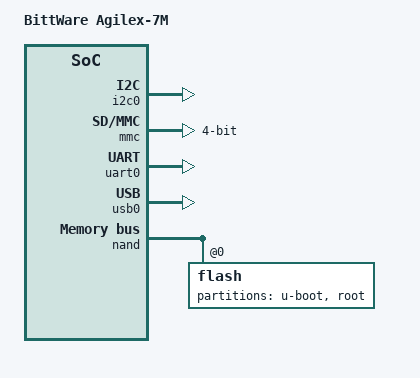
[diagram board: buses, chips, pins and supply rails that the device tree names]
// SPDX-License-Identifier:     GPL-2.0
/*
 * Copyright (C) 2023, Intel Corporation
 */
#include "socfpga_agilex.dtsi"

/ {
	model = "BittWare Agilex-7M";

	aliases {
		serial0 = &uart0;
		ethernet0 = &gmac0;
		ethernet1 = &gmac1;
		ethernet2 = &gmac2;
	};

	memory {
		device_type = "memory";
		/* We expect the bootloader to fill in the reg */
		reg = <0 0 0 0>;
        /*reg = <0 0x00000000 0 0x80000000>, */
        /*       <2 0x80000000 0 0x80000000>; */
	};

	soc {
		clocks {
			osc1 {
				clock-frequency = <25000000>;
			};
		};
	};
};

&i2c0 {
	status = "okay";
};

&gpio0 {
	status = "okay";
};

&gpio1 {
	status = "okay";
};

&gmac0 {
	status = "disabled";
	phy-mode = "rgmii";
	phy-handle = <&phy0>;

	max-frame-size = <9000>;

	mdio0 {
		#address-cells = <1>;
		#size-cells = <0>;
		compatible = "snps,dwmac-mdio";
		phy0: ethernet-phy@0 {
			reg = <4>;

			txd0-skew-ps = <0>; /* -420ps */
			txd1-skew-ps = <0>; /* -420ps */
			txd2-skew-ps = <0>; /* -420ps */
			txd3-skew-ps = <0>; /* -420ps */
			rxd0-skew-ps = <420>; /* 0ps */
			rxd1-skew-ps = <420>; /* 0ps */
			rxd2-skew-ps = <420>; /* 0ps */
			rxd3-skew-ps = <420>; /* 0ps */
			txen-skew-ps = <0>; /* -420ps */
			txc-skew-ps = <900>; /* 0ps */
			rxdv-skew-ps = <420>; /* 0ps */
			rxc-skew-ps = <1680>; /* 780ps */
		};
	};
};

&mmc {
	status = "okay";
	cap-sd-highspeed;
	broken-cd;
	bus-width = <4>;
};

&uart0 {
	status = "okay";
};

&usb0 {
	status = "okay";
	disable-over-current;
};

&watchdog0 {
	status = "disabled";
};

&nand {
    status = "okay";
	nand-bus-width = <8>;
	flash@0 {
		partitions {
			compatible = "fixed-partitions";
			#address-cells = <1>;
			#size-cells = <1>;
			partition@0 {
				label = "u-boot";
				reg = <0 0x200000>;
			};
			partition@200000 {
				label = "root";
				reg = <0x200000 0x3fe00000>;
			};
		};
	};
};

&qspi {
    status = "disabled";
	flash0: flash@0 {
		#address-cells = <1>;
		#size-cells = <1>;
		compatible = "mt25qu02g";
		reg = <0>;
		spi-max-frequency = <100000000>;

		m25p,fast-read;
		cdns,page-size = <256>;
		cdns,block-size = <16>;
		cdns,read-delay = <1>;
		cdns,tshsl-ns = <50>;
		cdns,tsd2d-ns = <50>;
		cdns,tchsh-ns = <4>;
		cdns,tslch-ns = <4>;

		partitions {
			compatible = "fixed-partitions";
			#address-cells = <1>;
			#size-cells = <1>;

			qspi_boot: partition@0 {
				label = "u-boot";
				reg = <0x0 0x04200000>;
			};

			root: partition@4200000 {
				label = "root";
				reg = <0x04200000 0x0BE00000>;
			};
		};
	};
};
